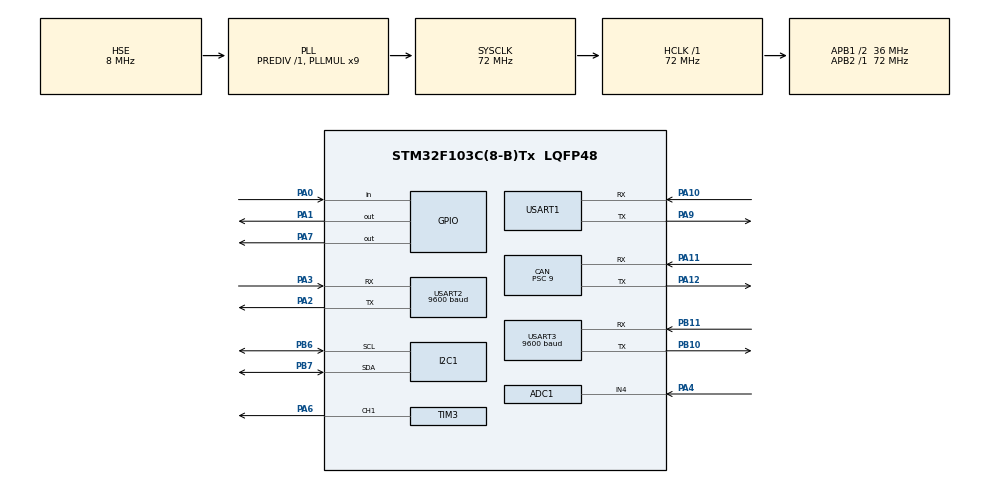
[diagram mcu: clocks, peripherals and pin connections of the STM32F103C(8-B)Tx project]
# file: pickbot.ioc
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ADC1.Channel-0\#ChannelRegularConversion=ADC_CHANNEL_4
ADC1.ContinuousConvMode=ENABLE
ADC1.NbrOfConversion=1
ADC1.NbrOfConversionFlag=1
ADC1.Rank-0\#ChannelRegularConversion=1
ADC1.SamplingTime-0\#ChannelRegularConversion=ADC_SAMPLETIME_1CYCLE_5
ADC1.master=1
CAN.BS1=CAN_BS1_4TQ
CAN.BS2=CAN_BS2_3TQ
CAN.CalculateBaudRate=500000
CAN.CalculateTimeBit=2000
CAN.CalculateTimeQuantum=250.0
CAN.Prescaler=9
CAN.SJW=CAN_SJW_1TQ
FREERTOS.Tasks01=defaultTask,-2,128,StartDefaultTask,Default,NULL,Dynamic,NULL,NULL;chaoshengduqu,0,128,chaosheng,As weak,NULL,Dynamic,NULL,NULL;ZTDcontrol,0,256,ZTDCONTROL,As weak,NULL,Dynamic,NULL,NULL;drv8874,0,256,drv8874control,As weak,NULL,Dynamic,NULL,NULL;JYtask,0,128,JY901read,As weak,NULL,Dynamic,NULL,NULL
FREERTOS.configCHECK_FOR_STACK_OVERFLOW=1
FREERTOS.configTOTAL_HEAP_SIZE=8192
Mcu.Family=STM32F1
Mcu.Name=STM32F103C(8-B)Tx
Mcu.Package=LQFP48
NVIC.PriorityGroup=NVIC_PRIORITYGROUP_4
NVIC.TIM1_UP_IRQn=true\:7\:0\:true\:false\:true\:true\:true\:true\:true
NVIC.TIM2_IRQn=true\:6\:0\:true\:false\:true\:true\:true\:true\:true
NVIC.TIM4_IRQn=true\:15\:0\:false\:false\:true\:false\:false\:true\:true
NVIC.TimeBase=TIM4_IRQn
NVIC.TimeBaseIP=TIM4
NVIC.USART1_IRQn=true\:5\:0\:true\:false\:true\:true\:true\:true\:true
NVIC.USART2_IRQn=true\:6\:0\:true\:false\:true\:true\:true\:true\:true
NVIC.USART3_IRQn=true\:6\:0\:true\:false\:true\:true\:true\:true\:true
NVIC.USB_LP_CAN1_RX0_IRQn=true\:5\:0\:true\:false\:true\:true\:true\:true\:true
PA0-WKUP.Signal=GPIO_Input
PA1.Signal=GPIO_Output
PA10.Mode=Asynchronous
PA10.Signal=USART1_RX
PA11.Mode=CAN_Activate
PA11.Signal=CAN_RX
PA12.Mode=CAN_Activate
PA12.Signal=CAN_TX
PA13.Mode=Serial_Wire
PA13.Signal=SYS_JTMS-SWDIO
PA14.Mode=Serial_Wire
PA14.Signal=SYS_JTCK-SWCLK
PA2.Mode=Asynchronous
PA2.Signal=USART2_TX
PA3.Mode=Asynchronous
PA3.Signal=USART2_RX
PA4.Signal=ADCx_IN4
PA6.Signal=S_TIM3_CH1
PA7.Signal=GPIO_Output
PA9.Mode=Asynchronous
PA9.Signal=USART1_TX
PB10.Mode=Asynchronous
PB10.Signal=USART3_TX
PB11.Mode=Asynchronous
PB11.Signal=USART3_RX
PB6.Mode=I2C
PB6.Signal=I2C1_SCL
PB7.Mode=I2C
PB7.Signal=I2C1_SDA
PD0-OSC_IN.Mode=HSE-External-Oscillator
PD0-OSC_IN.Signal=RCC_OSC_IN
PD1-OSC_OUT.Mode=HSE-External-Oscillator
PD1-OSC_OUT.Signal=RCC_OSC_OUT
ProjectManager.HeapSize=0x200
ProjectManager.StackSize=0x800
ProjectManager.TargetToolchain=MDK-ARM V5.32
RCC.ADCPresc=RCC_ADCPCLK2_DIV6
RCC.AHBFreq_Value=72000000
RCC.APB1CLKDivider=RCC_HCLK_DIV2
RCC.APB1Freq_Value=36000000
RCC.APB1TimFreq_Value=72000000
RCC.APB2Freq_Value=72000000
RCC.APB2TimFreq_Value=72000000
RCC.HCLKFreq_Value=72000000
RCC.PLLMUL=RCC_PLL_MUL9
RCC.PLLSourceVirtual=RCC_PLLSOURCE_HSE
RCC.SYSCLKFreq_VALUE=72000000
RCC.SYSCLKSource=RCC_SYSCLKSOURCE_PLLCLK
RCC.USBFreq_Value=72000000
SH.ADCx_IN4.0=ADC1_IN4,IN4
SH.S_TIM3_CH1.0=TIM3_CH1,PWM Generation1 CH1
TIM1.Period=19999
TIM1.Prescaler=71
TIM2.Period=49
TIM2.Prescaler=71
TIM3.Channel-PWM\ Generation1\ CH1=TIM_CHANNEL_1
TIM3.Period=3599
TIM3.Prescaler=0
USART1.VirtualMode=VM_ASYNC
USART2.BaudRate=9600
USART2.VirtualMode=VM_ASYNC
USART3.BaudRate=9600
USART3.VirtualMode=VM_ASYNC
VP_FREERTOS_VS_CMSIS_V1.Mode=CMSIS_V1
VP_SYS_VS_tim4.Mode=TIM4
VP_TIM1_VS_ClockSourceINT.Mode=Internal
VP_TIM2_VS_ClockSourceINT.Mode=Internal
VP_TIM3_VS_ClockSourceINT.Mode=Internal
board=custom

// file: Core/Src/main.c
/* USER CODE BEGIN Header */
/**
  ******************************************************************************
  * @file           : main.c
  * @brief          : Main program body
  ******************************************************************************
  * @attention
  *
  * Copyright (c) 2026 STMicroelectronics.
  * All rights reserved.
  *
  * This software is licensed under terms that can be found in the LICENSE file
  * in the root directory of this software component.
  * If no LICENSE file comes with this software, it is provided AS-IS.
  *
  ******************************************************************************
  */
/* USER CODE END Header */
#include "main.h"
#include "cmsis_os.h"
#include "adc.h"
#include "can.h"
#include "i2c.h"
#include "tim.h"
#include "usart.h"
#include "gpio.h"

void SystemClock_Config(void);
void MX_FREERTOS_Init(void);

int main(void)
{

  /* MCU Configuration--------------------------------------------------------*/

  /* Reset of all peripherals, Initializes the Flash interface and the Systick. */
  HAL_Init();

  /* Configure the system clock */
  SystemClock_Config();

  /* Initialize all configured peripherals */
  MX_GPIO_Init();
  MX_CAN_Init();
  MX_I2C1_Init();
  MX_TIM3_Init();
  MX_USART1_UART_Init();
  MX_ADC1_Init();
  MX_TIM2_Init();
  MX_TIM1_Init();
  MX_USART2_UART_Init();
  MX_USART3_UART_Init();
  /* USER CODE BEGIN 2 */
  CAN_App_FilterInit();
  CAN_App_Start();
  PickbotComm_Init();
  /* USER CODE END 2 */

  /* Call init function for freertos objects (in cmsis_os2.c) */
  MX_FREERTOS_Init();

  /* Start scheduler */
  osKernelStart();

  /* We should never get here as control is now taken by the scheduler */

  /* Infinite loop */
  while (1)
  {

  }
}

void SystemClock_Config(void)
{
  RCC_OscInitTypeDef RCC_OscInitStruct = {0};
  RCC_ClkInitTypeDef RCC_ClkInitStruct = {0};
  RCC_PeriphCLKInitTypeDef PeriphClkInit = {0};

  /** Initializes the RCC Oscillators according to the specified parameters
  * in the RCC_OscInitTypeDef structure.
  */
  RCC_OscInitStruct.OscillatorType = RCC_OSCILLATORTYPE_HSE;
  RCC_OscInitStruct.HSEState = RCC_HSE_ON;
  RCC_OscInitStruct.HSEPredivValue = RCC_HSE_PREDIV_DIV1;
  RCC_OscInitStruct.HSIState = RCC_HSI_ON;
  RCC_OscInitStruct.PLL.PLLState = RCC_PLL_ON;
  RCC_OscInitStruct.PLL.PLLSource = RCC_PLLSOURCE_HSE;
  RCC_OscInitStruct.PLL.PLLMUL = RCC_PLL_MUL9;
  if (HAL_RCC_OscConfig(&RCC_OscInitStruct) != HAL_OK)
  {
    Error_Handler();
  }

  /** Initializes the CPU, AHB and APB buses clocks
  */
  RCC_ClkInitStruct.ClockType = RCC_CLOCKTYPE_HCLK|RCC_CLOCKTYPE_SYSCLK
                              |RCC_CLOCKTYPE_PCLK1|RCC_CLOCKTYPE_PCLK2;
  RCC_ClkInitStruct.SYSCLKSource = RCC_SYSCLKSOURCE_PLLCLK;
  RCC_ClkInitStruct.AHBCLKDivider = RCC_SYSCLK_DIV1;
  RCC_ClkInitStruct.APB1CLKDivider = RCC_HCLK_DIV2;
  RCC_ClkInitStruct.APB2CLKDivider = RCC_HCLK_DIV1;

  if (HAL_RCC_ClockConfig(&RCC_ClkInitStruct, FLASH_LATENCY_2) != HAL_OK)
  {
    Error_Handler();
  }
  PeriphClkInit.PeriphClockSelection = RCC_PERIPHCLK_ADC;
  PeriphClkInit.AdcClockSelection = RCC_ADCPCLK2_DIV6;
  if (HAL_RCCEx_PeriphCLKConfig(&PeriphClkInit) != HAL_OK)
  {
    Error_Handler();
  }
}

//void HAL_TIM_PeriodElapsedCallback(TIM_HandleTypeDef *htim)
//{
//  /* USER CODE BEGIN Callback 0 */

//  /* USER CODE END Callback 0 */
//  if (htim->Instance == TIM4)
//  {
//    HAL_IncTick();
//  }
//  /* USER CODE BEGIN Callback 1 */
////////  else if (htim->Instance == TIM2)
////////  {
////////    DRV8874_OnEncoderTimerTick();
////////  }
//  /* USER CODE END Callback 1 */
//}

void Error_Handler(void)
{
  /* USER CODE BEGIN Error_Handler_Debug */
  /* User can add his own implementation to report the HAL error return state */
//  __disable_irq();
//  while (1)
//  {
//  }
  /* USER CODE END Error_Handler_Debug */
}

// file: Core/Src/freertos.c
/* USER CODE BEGIN Header */
/**
  ******************************************************************************
  * File Name          : freertos.c
  * Description        : Code for freertos applications
  ******************************************************************************
  * @attention
  *
  * Copyright (c) 2026 STMicroelectronics.
  * All rights reserved.
  *
  * This software is licensed under terms that can be found in the LICENSE file
  * in the root directory of this software component.
  * If no LICENSE file comes with this software, it is provided AS-IS.
  *
  ******************************************************************************
  */
/* USER CODE END Header */

#include "FreeRTOS.h"
#include "task.h"
#include "main.h"
#include "cmsis_os.h"

/* USER CODE BEGIN Includes */

#include "pickbot.h"

/* USER CODE END Includes */

osThreadId defaultTaskHandle;
osThreadId chaoshengduquHandle;
osThreadId ZTDcontrolHandle;
osThreadId drv8874Handle;
osThreadId JYtaskHandle;

void StartDefaultTask(void const * argument);
void chaosheng(void const * argument);
void ZTDCONTROL(void const * argument);
void drv8874control(void const * argument);
void JY901read(void const * argument);

void MX_FREERTOS_Init(void); /* (MISRA C 2004 rule 8.1) */

/* GetIdleTaskMemory prototype (linked to static allocation support) */
void vApplicationGetIdleTaskMemory( StaticTask_t **ppxIdleTaskTCBBuffer, StackType_t **ppxIdleTaskStackBuffer, uint32_t *pulIdleTaskStackSize );

/* Hook prototypes */
void vApplicationStackOverflowHook(xTaskHandle xTask, signed char *pcTaskName);

/* USER CODE BEGIN 4 */
__weak void vApplicationStackOverflowHook(xTaskHandle xTask, signed char *pcTaskName)
{
   (void)xTask;
   (void)pcTaskName;
}
/* USER CODE END 4 */

/* USER CODE BEGIN GET_IDLE_TASK_MEMORY */
static StaticTask_t xIdleTaskTCBBuffer;
static StackType_t xIdleStack[configMINIMAL_STACK_SIZE];

void vApplicationGetIdleTaskMemory( StaticTask_t **ppxIdleTaskTCBBuffer, StackType_t **ppxIdleTaskStackBuffer, uint32_t *pulIdleTaskStackSize )
{
  *ppxIdleTaskTCBBuffer = &xIdleTaskTCBBuffer;
  *ppxIdleTaskStackBuffer = &xIdleStack[0];
  *pulIdleTaskStackSize = configMINIMAL_STACK_SIZE;
}
/* USER CODE END GET_IDLE_TASK_MEMORY */

void MX_FREERTOS_Init(void) {

  /* Create the thread(s) */
  /* definition and creation of defaultTask */
  osThreadDef(defaultTask, StartDefaultTask, osPriorityLow, 0, 128);
  defaultTaskHandle = osThreadCreate(osThread(defaultTask), NULL);

  /* definition and creation of chaoshengduqu */
  osThreadDef(chaoshengduqu, chaosheng, osPriorityNormal, 0, 128);
  chaoshengduquHandle = osThreadCreate(osThread(chaoshengduqu), NULL);

  /* definition and creation of ZTDcontrol */
  osThreadDef(ZTDcontrol, ZTDCONTROL, osPriorityNormal, 0, 256);
  ZTDcontrolHandle = osThreadCreate(osThread(ZTDcontrol), NULL);

  /* definition and creation of drv8874 */
  osThreadDef(drv8874, drv8874control, osPriorityNormal, 0, 256);
  drv8874Handle = osThreadCreate(osThread(drv8874), NULL);

  /* definition and creation of JYtask */
  osThreadDef(JYtask, JY901read, osPriorityNormal, 0, 128);
  JYtaskHandle = osThreadCreate(osThread(JYtask), NULL);

}

/* USER CODE BEGIN Header_StartDefaultTask */
/**
  * @brief  默认任务：预留 RDK X5 上位机通信/系统监控
  */
/* USER CODE END Header_StartDefaultTask */
void StartDefaultTask(void const * argument)
{
  /* USER CODE BEGIN StartDefaultTask */
  for (;;)
  {
    osDelay(20);
  }
  /* USER CODE END StartDefaultTask */
}

/* USER CODE BEGIN Header_chaosheng */
/**
  * @brief  US-100 超声测距任务
  */
/* USER CODE END Header_chaosheng */
__weak void chaosheng(void const * argument)
{
  /* USER CODE BEGIN chaosheng */
  for (;;)
  {
    Pickbot_Task_US100();
    osDelay(100);
  }
  /* USER CODE END chaosheng */
}

/* USER CODE BEGIN Header_ZTDCONTROL */
/**
  * @brief  张大头 ZDT 步进电机 CAN 控制任务
  */
/* USER CODE END Header_ZTDCONTROL */
__weak void ZTDCONTROL(void const * argument)
{
  /* USER CODE BEGIN ZTDCONTROL */
  for (;;)
  {
    Pickbot_Task_ZDT();
    osDelay(5);
  }
  /* USER CODE END ZTDCONTROL */
}

/* USER CODE BEGIN Header_drv8874control */
/**
  * @brief  DRV8874 捡球电机 + 编码器 + 电流采样任务
  */
/* USER CODE END Header_drv8874control */
__weak void drv8874control(void const * argument)
{
  /* USER CODE BEGIN drv8874control */
  for (;;)
  {
    Pickbot_Task_Drv8874();
    osDelay(20);
  }
  /* USER CODE END drv8874control */
}

__weak void JY901read(void const * argument)
{
  /* USER CODE BEGIN JY901read */
  /* Infinite loop */
  for(;;)
  {
	Pickbot_Task_JY901S();
    osDelay(20);
  }
  /* USER CODE END JY901read */
}
